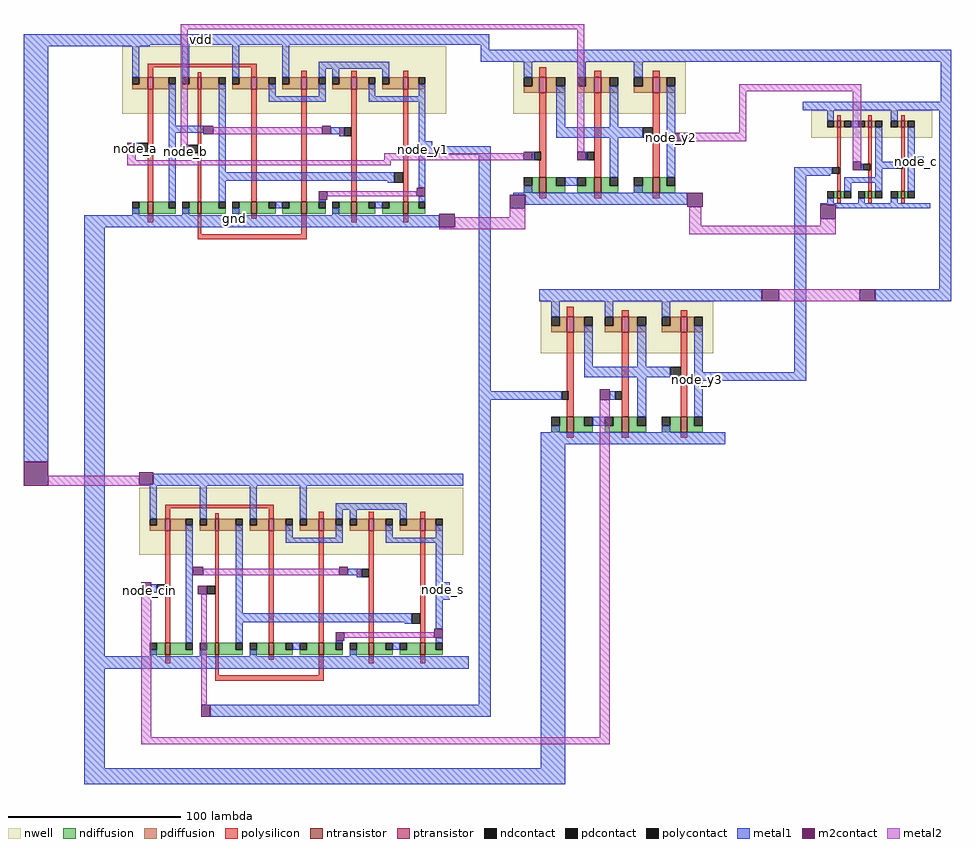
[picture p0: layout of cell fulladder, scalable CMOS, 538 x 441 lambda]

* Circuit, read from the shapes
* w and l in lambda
.subckt fulladder gnd node_a node_b node_c node_cin node_s node_y1 node_y2 node_y3 vdd
M1 n1 node_a gnd VSUBS nfet w=7 l=3
M2 n2 node_cin gnd VSUBS nfet w=7 l=3
M3 n3 node_b gnd VSUBS nfet w=7 l=2
M4 n4 node_y1 gnd VSUBS nfet w=7 l=2
M5 n5 node_a gnd VSUBS nfet w=7 l=3
M6 n6 node_cin gnd VSUBS nfet w=7 l=3
M7 node_y1 node_b n5 VSUBS nfet w=7 l=3
M8 node_s node_y1 n6 VSUBS nfet w=7 l=3
M9 n7 n1 gnd VSUBS nfet w=7 l=3
M10 n8 n2 gnd VSUBS nfet w=7 l=3
M11 node_y1 n3 n7 VSUBS nfet w=7 l=3
M12 node_s n4 n8 VSUBS nfet w=7 l=3
M13 n9 node_a gnd VSUBS nfet w=9 l=4
M14 n10 node_y1 gnd VSUBS nfet w=9 l=4
M15 n11 node_b n9 VSUBS nfet w=9 l=4
M16 n12 node_cin n10 VSUBS nfet w=9 l=4
M17 node_y2 n11 gnd VSUBS nfet w=9 l=4
M18 node_y3 n12 gnd VSUBS nfet w=9 l=4
M19 n13 node_y3 gnd VSUBS nfet w=4 l=2
M20 n13 node_y2 gnd VSUBS nfet w=4 l=2
M21 node_c n13 gnd VSUBS nfet w=4 l=2
M22 n1 node_a vdd n14 pfet w=7 l=3
M23 n2 node_cin vdd n15 pfet w=7 l=3
M24 n3 node_b vdd n14 pfet w=7 l=2
M25 n4 node_y1 vdd n15 pfet w=7 l=2
M26 n16 node_a vdd n14 pfet w=7 l=3
M27 n17 node_cin vdd n15 pfet w=7 l=3
M28 n16 node_b vdd n14 pfet w=7 l=3
M29 n17 node_y1 vdd n15 pfet w=7 l=3
M30 node_y1 n1 n16 n14 pfet w=7 l=3
M31 node_s n2 n17 n15 pfet w=7 l=3
M32 node_y1 n3 n16 n14 pfet w=7 l=3
M33 node_s n4 n17 n15 pfet w=7 l=3
M34 n11 node_a vdd n18 pfet w=9 l=4
M35 n12 node_y1 vdd n19 pfet w=9 l=4
M36 n11 node_b vdd n18 pfet w=9 l=4
M37 n12 node_cin vdd n19 pfet w=9 l=4
M38 node_y2 n11 vdd n18 pfet w=9 l=4
M39 node_y3 n12 vdd n19 pfet w=9 l=4
M40 n20 node_y3 vdd n21 pfet w=4 l=2
M41 n13 node_y2 n20 n21 pfet w=4 l=2
M42 node_c n13 vdd n21 pfet w=4 l=2
.ends

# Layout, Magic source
magic
tech scmos
<< nwell >>
rect -280 176 -92 215
rect -53 176 47 206
rect 120 162 190 178
rect -37 37 63 67
rect -270 -80 -82 -41
<< ntransistor >>
rect -38 130 -34 139
rect -6 130 -2 139
rect 28 130 32 139
rect 135 127 137 131
rect 153 127 155 131
rect 172 127 174 131
rect -265 118 -262 125
rect -236 118 -234 125
rect -205 118 -202 125
rect -176 118 -173 125
rect -147 118 -144 125
rect -117 118 -114 125
rect -22 -9 -18 0
rect 10 -9 14 0
rect 44 -9 48 0
rect -255 -138 -252 -131
rect -226 -138 -224 -131
rect -195 -138 -192 -131
rect -166 -138 -163 -131
rect -137 -138 -134 -131
rect -107 -138 -104 -131
<< ptransistor >>
rect -265 190 -262 197
rect -236 190 -234 197
rect -205 190 -202 197
rect -176 190 -173 197
rect -147 190 -144 197
rect -117 190 -114 197
rect -38 188 -34 197
rect -6 188 -2 197
rect 28 188 32 197
rect 135 168 137 172
rect 153 168 155 172
rect 172 168 174 172
rect -22 49 -18 58
rect 10 49 14 58
rect 44 49 48 58
rect -255 -66 -252 -59
rect -226 -66 -224 -59
rect -195 -66 -192 -59
rect -166 -66 -163 -59
rect -137 -66 -134 -59
rect -107 -66 -104 -59
<< ndiffusion >>
rect -42 134 -38 139
rect -47 130 -38 134
rect -34 134 -28 139
rect -34 130 -23 134
rect -11 134 -6 139
rect -16 130 -6 134
rect -2 134 3 139
rect -2 130 8 134
rect 22 134 28 139
rect 17 130 28 134
rect 32 134 36 139
rect 32 130 41 134
rect 133 127 135 131
rect 137 127 139 131
rect 151 127 153 131
rect 155 127 157 131
rect 170 127 172 131
rect 174 127 176 131
rect -270 121 -265 125
rect -274 118 -265 121
rect -262 121 -253 125
rect -262 118 -249 121
rect -241 121 -236 125
rect -245 118 -236 121
rect -234 121 -224 125
rect -234 118 -220 121
rect -212 121 -205 125
rect -216 118 -205 121
rect -202 121 -195 125
rect -202 118 -191 121
rect -183 121 -176 125
rect -187 118 -176 121
rect -173 121 -166 125
rect -173 118 -162 121
rect -154 121 -147 125
rect -158 118 -147 121
rect -144 121 -137 125
rect -144 118 -133 121
rect -125 121 -117 125
rect -129 118 -117 121
rect -114 121 -108 125
rect -114 118 -104 121
rect -26 -5 -22 0
rect -31 -9 -22 -5
rect -18 -5 -12 0
rect -18 -9 -7 -5
rect 5 -5 10 0
rect 0 -9 10 -5
rect 14 -5 19 0
rect 14 -9 24 -5
rect 38 -5 44 0
rect 33 -9 44 -5
rect 48 -5 52 0
rect 48 -9 57 -5
rect -260 -135 -255 -131
rect -264 -138 -255 -135
rect -252 -135 -243 -131
rect -252 -138 -239 -135
rect -231 -135 -226 -131
rect -235 -138 -226 -135
rect -224 -135 -214 -131
rect -224 -138 -210 -135
rect -202 -135 -195 -131
rect -206 -138 -195 -135
rect -192 -135 -185 -131
rect -192 -138 -181 -135
rect -173 -135 -166 -131
rect -177 -138 -166 -135
rect -163 -135 -156 -131
rect -163 -138 -152 -135
rect -144 -135 -137 -131
rect -148 -138 -137 -135
rect -134 -135 -127 -131
rect -134 -138 -123 -135
rect -115 -135 -107 -131
rect -119 -138 -107 -135
rect -104 -135 -98 -131
rect -104 -138 -94 -135
<< pdiffusion >>
rect -270 193 -265 197
rect -274 190 -265 193
rect -262 193 -253 197
rect -262 190 -249 193
rect -241 193 -236 197
rect -245 190 -236 193
rect -234 193 -224 197
rect -234 190 -220 193
rect -212 193 -205 197
rect -216 190 -205 193
rect -202 193 -195 197
rect -202 190 -191 193
rect -183 193 -176 197
rect -187 190 -176 193
rect -173 193 -166 197
rect -173 190 -162 193
rect -154 193 -147 197
rect -158 190 -147 193
rect -144 193 -137 197
rect -144 190 -133 193
rect -125 193 -117 197
rect -129 190 -117 193
rect -114 193 -108 197
rect -114 190 -104 193
rect -42 192 -38 197
rect -47 188 -38 192
rect -34 192 -28 197
rect -34 188 -23 192
rect -11 192 -6 197
rect -16 188 -6 192
rect -2 192 3 197
rect -2 188 8 192
rect 22 192 28 197
rect 17 188 28 192
rect 32 192 36 197
rect 32 188 41 192
rect 133 168 135 172
rect 137 168 139 172
rect 151 168 153 172
rect 155 168 157 172
rect 170 168 172 172
rect 174 168 176 172
rect -26 53 -22 58
rect -31 49 -22 53
rect -18 53 -12 58
rect -18 49 -7 53
rect 5 53 10 58
rect 0 49 10 53
rect 14 53 19 58
rect 14 49 24 53
rect 38 53 44 58
rect 33 49 44 53
rect 48 53 52 58
rect 48 49 57 53
rect -260 -63 -255 -59
rect -264 -66 -255 -63
rect -252 -63 -243 -59
rect -252 -66 -239 -63
rect -231 -63 -226 -59
rect -235 -66 -226 -63
rect -224 -63 -214 -59
rect -224 -66 -210 -63
rect -202 -63 -195 -59
rect -206 -66 -195 -63
rect -192 -63 -185 -59
rect -192 -66 -181 -63
rect -173 -63 -166 -59
rect -177 -66 -166 -63
rect -163 -63 -156 -59
rect -163 -66 -152 -63
rect -144 -63 -137 -59
rect -148 -66 -137 -63
rect -134 -63 -127 -59
rect -134 -66 -123 -63
rect -115 -63 -107 -59
rect -119 -66 -107 -63
rect -104 -63 -98 -59
rect -104 -66 -94 -63
<< ndcontact >>
rect -47 134 -42 139
rect -28 134 -23 139
rect -16 134 -11 139
rect 3 134 8 139
rect 17 134 22 139
rect 36 134 41 139
rect 129 127 133 131
rect 139 127 143 131
rect 147 127 151 131
rect 157 127 161 131
rect 166 127 170 131
rect 176 127 180 131
rect -274 121 -270 125
rect -253 121 -249 125
rect -245 121 -241 125
rect -224 121 -220 125
rect -216 121 -212 125
rect -195 121 -191 125
rect -187 121 -183 125
rect -166 121 -162 125
rect -158 121 -154 125
rect -137 121 -133 125
rect -129 121 -125 125
rect -108 121 -104 125
rect -31 -5 -26 0
rect -12 -5 -7 0
rect 0 -5 5 0
rect 19 -5 24 0
rect 33 -5 38 0
rect 52 -5 57 0
rect -264 -135 -260 -131
rect -243 -135 -239 -131
rect -235 -135 -231 -131
rect -214 -135 -210 -131
rect -206 -135 -202 -131
rect -185 -135 -181 -131
rect -177 -135 -173 -131
rect -156 -135 -152 -131
rect -148 -135 -144 -131
rect -127 -135 -123 -131
rect -119 -135 -115 -131
rect -98 -135 -94 -131
<< pdcontact >>
rect -274 193 -270 197
rect -253 193 -249 197
rect -245 193 -241 197
rect -224 193 -220 197
rect -216 193 -212 197
rect -195 193 -191 197
rect -187 193 -183 197
rect -166 193 -162 197
rect -158 193 -154 197
rect -137 193 -133 197
rect -129 193 -125 197
rect -108 193 -104 197
rect -47 192 -42 197
rect -28 192 -23 197
rect -16 192 -11 197
rect 3 192 8 197
rect 17 192 22 197
rect 36 192 41 197
rect 129 168 133 172
rect 139 168 143 172
rect 147 168 151 172
rect 157 168 161 172
rect 166 168 170 172
rect 176 168 180 172
rect -31 53 -26 58
rect -12 53 -7 58
rect 0 53 5 58
rect 19 53 24 58
rect 33 53 38 58
rect 52 53 57 58
rect -264 -63 -260 -59
rect -243 -63 -239 -59
rect -235 -63 -231 -59
rect -214 -63 -210 -59
rect -206 -63 -202 -59
rect -185 -63 -181 -59
rect -177 -63 -173 -59
rect -156 -63 -152 -59
rect -148 -63 -144 -59
rect -127 -63 -123 -59
rect -119 -63 -115 -59
rect -98 -63 -94 -59
<< polysilicon >>
rect -265 203 -202 205
rect -265 197 -262 203
rect -236 197 -234 200
rect -205 197 -202 203
rect -176 197 -173 201
rect -147 197 -144 201
rect -117 197 -114 201
rect -38 197 -34 203
rect -6 197 -2 201
rect 28 197 32 201
rect -265 125 -262 190
rect -236 125 -234 190
rect -205 125 -202 190
rect -176 125 -173 190
rect -154 163 -151 168
rect -147 125 -144 190
rect -117 125 -114 190
rect -38 154 -34 188
rect -37 149 -34 154
rect -38 139 -34 149
rect -6 139 -2 188
rect 28 139 32 188
rect 135 172 137 175
rect 153 172 155 175
rect 172 172 174 175
rect 135 145 137 168
rect 153 147 155 168
rect 172 148 174 168
rect 136 141 137 145
rect 154 143 155 147
rect 173 144 174 148
rect 135 131 137 141
rect 153 131 155 143
rect 172 131 174 144
rect -38 127 -34 130
rect -6 127 -2 130
rect 28 127 32 130
rect 135 124 137 127
rect 153 124 155 127
rect 172 124 174 127
rect -265 113 -262 118
rect -236 106 -234 118
rect -205 115 -202 118
rect -176 106 -173 118
rect -147 113 -144 118
rect -117 113 -114 118
rect -236 103 -173 106
rect -22 58 -18 64
rect 10 58 14 62
rect 44 58 48 62
rect -22 15 -18 49
rect -21 10 -18 15
rect -22 0 -18 10
rect 10 0 14 49
rect 44 0 48 49
rect -22 -12 -18 -9
rect 10 -12 14 -9
rect 44 -12 48 -9
rect -255 -53 -192 -51
rect -255 -59 -252 -53
rect -226 -59 -224 -56
rect -195 -59 -192 -53
rect -166 -59 -163 -55
rect -137 -59 -134 -55
rect -107 -59 -104 -55
rect -255 -131 -252 -66
rect -226 -131 -224 -66
rect -195 -131 -192 -66
rect -166 -131 -163 -66
rect -144 -93 -141 -88
rect -137 -131 -134 -66
rect -107 -131 -104 -66
rect -255 -143 -252 -138
rect -226 -150 -224 -138
rect -195 -141 -192 -138
rect -166 -150 -163 -138
rect -137 -143 -134 -138
rect -107 -143 -104 -138
rect -226 -153 -163 -150
<< polycontact >>
rect -270 154 -265 159
rect -241 153 -236 158
rect -151 163 -147 168
rect -122 136 -117 142
rect -41 149 -37 154
rect -10 149 -6 154
rect 22 162 28 168
rect 132 141 136 145
rect 150 143 154 147
rect 169 144 173 148
rect -25 10 -21 15
rect 6 10 10 15
rect 38 23 44 29
rect -260 -102 -255 -97
rect -231 -103 -226 -98
rect -141 -93 -137 -88
rect -112 -120 -107 -114
<< metal1 >>
rect -337 216 -67 222
rect -337 215 -264 216
rect -337 -26 -323 215
rect -274 197 -270 215
rect -245 197 -241 216
rect -216 197 -212 216
rect -187 197 -183 216
rect -72 213 -67 216
rect -72 206 201 213
rect -166 202 -125 206
rect -166 197 -162 202
rect -158 197 -154 202
rect -129 197 -125 202
rect -47 197 -42 206
rect -16 197 -11 206
rect 17 197 22 206
rect -253 169 -249 193
rect -253 165 -233 169
rect -272 154 -270 159
rect -253 125 -249 165
rect -224 142 -220 193
rect -195 186 -191 193
rect -166 186 -162 193
rect -195 183 -162 186
rect -137 186 -133 193
rect -108 186 -104 193
rect -137 183 -104 186
rect -159 164 -151 168
rect -154 163 -151 164
rect -108 160 -104 183
rect -28 168 -23 192
rect 3 168 8 192
rect -28 162 22 168
rect -108 157 -100 160
rect -108 152 -66 157
rect -108 150 -100 152
rect -224 137 -122 142
rect -224 125 -220 137
rect -126 136 -122 137
rect -108 133 -104 150
rect -166 125 -162 126
rect -108 125 -104 128
rect -191 121 -187 125
rect -133 121 -129 125
rect -274 117 -270 121
rect -245 117 -241 121
rect -216 117 -212 121
rect -158 117 -154 121
rect -302 110 -96 117
rect -302 -139 -290 110
rect -73 15 -66 152
rect -42 149 -41 154
rect -11 149 -10 154
rect 3 139 8 162
rect 36 139 41 192
rect 195 183 201 206
rect 115 178 201 183
rect 129 172 133 178
rect 166 172 170 178
rect 143 168 147 172
rect 157 148 161 168
rect 176 151 180 168
rect -23 134 -16 139
rect 110 141 132 145
rect 149 143 150 147
rect 157 144 169 148
rect 176 147 185 151
rect 110 140 131 141
rect -47 130 -42 134
rect 17 130 22 134
rect -53 129 48 130
rect -46 123 48 129
rect -38 67 91 74
rect -31 58 -26 67
rect 0 58 5 67
rect 33 58 38 67
rect -12 29 -7 53
rect 19 29 24 53
rect -12 23 38 29
rect 52 26 57 53
rect 110 26 117 140
rect 157 139 161 144
rect 139 136 161 139
rect 139 131 143 136
rect 157 131 161 136
rect 176 131 180 147
rect 129 124 133 127
rect 147 124 151 127
rect 166 124 170 127
rect 125 123 189 124
rect 134 121 189 123
rect 194 74 201 178
rect 157 67 201 74
rect -73 10 -25 15
rect 3 10 6 15
rect -262 -39 -82 -33
rect -270 -40 -82 -39
rect -264 -59 -260 -40
rect -235 -59 -231 -40
rect -206 -59 -202 -40
rect -177 -59 -173 -40
rect -156 -54 -115 -50
rect -156 -59 -152 -54
rect -148 -59 -144 -54
rect -119 -59 -115 -54
rect -263 -102 -260 -97
rect -243 -131 -239 -63
rect -214 -114 -210 -63
rect -185 -70 -181 -63
rect -156 -70 -152 -63
rect -185 -73 -152 -70
rect -127 -70 -123 -63
rect -98 -70 -94 -63
rect -127 -73 -94 -70
rect -149 -92 -141 -88
rect -144 -93 -141 -92
rect -98 -96 -94 -73
rect -98 -106 -90 -96
rect -214 -119 -112 -114
rect -214 -131 -210 -119
rect -116 -120 -112 -119
rect -98 -123 -94 -106
rect -156 -131 -152 -130
rect -98 -131 -94 -128
rect -181 -135 -177 -131
rect -123 -135 -119 -131
rect -264 -139 -260 -135
rect -235 -139 -231 -135
rect -206 -139 -202 -135
rect -148 -139 -144 -135
rect -302 -146 -79 -139
rect -302 -204 -290 -146
rect -73 -167 -66 10
rect 19 0 24 23
rect 52 21 117 26
rect 52 0 57 21
rect -7 -5 0 0
rect -31 -9 -26 -5
rect 33 -9 38 -5
rect -229 -174 -66 -167
rect -37 -16 70 -9
rect -37 -204 -23 -16
rect -302 -213 -23 -204
<< m2contact >>
rect -277 154 -272 159
rect -233 164 -227 169
rect -246 153 -241 158
rect -164 164 -159 169
rect -166 126 -161 131
rect -109 128 -104 133
rect -337 -40 -323 -26
rect -96 110 -87 118
rect -47 149 -42 154
rect -16 149 -11 154
rect 41 160 49 165
rect 144 143 149 148
rect -55 121 -46 129
rect 48 122 57 130
rect 91 67 101 74
rect 125 115 134 123
rect 148 67 157 74
rect -3 10 3 16
rect -270 -39 -262 -32
rect -269 -102 -263 -96
rect -239 -92 -233 -87
rect -236 -103 -231 -98
rect -154 -92 -149 -87
rect -156 -130 -151 -125
rect -99 -128 -94 -123
rect -234 -174 -229 -167
<< metal2 >>
rect -246 225 -12 228
rect -277 149 -272 154
rect -246 158 -242 225
rect -227 164 -164 168
rect -16 154 -12 225
rect 78 189 149 193
rect 78 165 82 189
rect 49 160 82 165
rect -128 149 -47 153
rect -277 146 -124 149
rect 144 148 149 189
rect -161 128 -109 131
rect -55 116 -46 121
rect -87 110 -46 116
rect -96 109 -46 110
rect 49 111 56 122
rect 125 111 134 115
rect 49 106 134 111
rect 101 67 148 74
rect -323 -39 -270 -34
rect -323 -40 -264 -39
rect -233 -92 -154 -88
rect -269 -186 -263 -102
rect -234 -167 -231 -103
rect -151 -128 -99 -125
rect -3 -186 3 10
rect -269 -190 3 -186
<< labels >>
rlabel metal1 -272 156 -272 156 1 node_a
rlabel m2contact -243 154 -243 154 1 node_b
rlabel metal1 -215 115 -215 115 1 gnd
rlabel metal1 -105 155 -105 155 1 node_y1
rlabel metal1 39 162 39 162 1 node_y2
rlabel metal1 181 148 181 148 1 node_c
rlabel m2contact -264 -101 -264 -101 1 node_cin
rlabel metal1 -94 -100 -94 -100 1 node_s
rlabel metal1 -234 219 -234 219 5 vdd
rlabel metal1 54 22 54 22 1 node_y3
<< end >>
